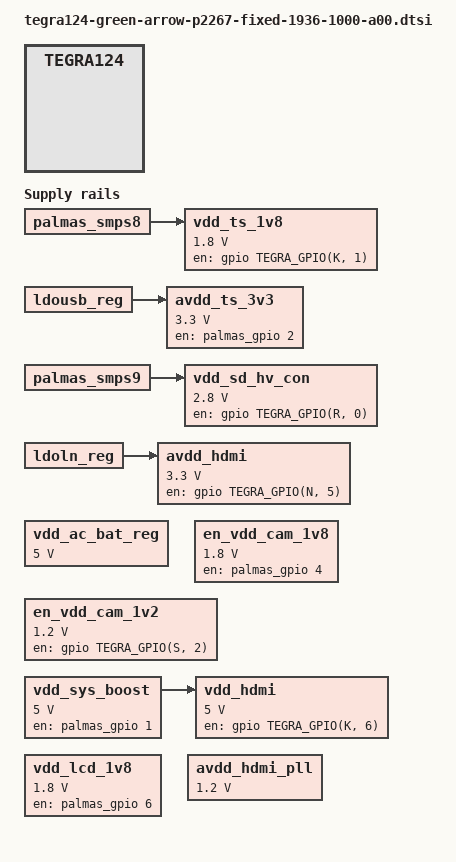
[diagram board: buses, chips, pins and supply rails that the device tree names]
/*
 * tegra124-green-arrow-p2267-fixed-1936-1000-a00.dtsi: GPIO based regulators
 *
 * Copyright (c) 2015, NVIDIA CORPORATION.  All rights reserved.
 *
 * This program is free software; you can redistribute it and/or modify
 * it under the terms of the GNU General Public License as published by
 * the Free Software Foundation; either version 2 of the License, or
 * (at your option) any later version.
 *
 * This program is distributed in the hope that it will be useful, but WITHOUT
 * ANY WARRANTY; without even the implied warranty of MERCHANTABILITY or
 * FITNESS FOR A PARTICULAR PURPOSE.  See the GNU General Public License for
 * more details.
 */

#include <dt-bindings/gpio/tegra-gpio.h>

/ {
	regulators {
		compatible = "simple-bus";
		#address-cells = <1>;
		#size-cells = <0>;

		vdd_ac_bat_reg: regulator@0 {
			compatible = "regulator-fixed";
			reg = <0>;
			regulator-name = "vdd_ac_bat";
			regulator-min-microvolt = <5000000>;
			regulator-max-microvolt = <5000000>;
			regulator-always-on;
		};

		vdd_ts_1v8: regulator@1 {
			compatible = "regulator-fixed-sync";
			reg = <1>;
			regulator-name = "vdd_ts_1v8";
			regulator-min-microvolt = <1800000>;
			regulator-max-microvolt = <1800000>;
			gpio = <&gpio TEGRA_GPIO(K, 1) 0>;
			regulator-always-on;
			regulator-boot-on;
			enable-active-high;
			vin-supply = <&palmas_smps8>;
		};

		avdd_ts_3v3: regulator@2 {
			compatible = "regulator-fixed-sync";
			reg = <2>;
			regulator-name = "avdd_ts_3v3";
			regulator-min-microvolt = <3300000>;
			regulator-max-microvolt = <3300000>;
			gpio = <&palmas_gpio 2 0>;
			enable-active-high;
			vin-supply = <&ldousb_reg>;
		};

		en_vdd_cam_1v8: regulator@3 {
			compatible = "regulator-fixed-sync";
			reg = <3>;
			regulator-name = "vdd-cam-1v8";
			regulator-min-microvolt = <1800000>;
			regulator-max-microvolt = <1800000>;
			gpio = <&palmas_gpio 4 0>;
			enable-active-high;
		};

		en_vdd_cam_1v2: regulator@4 {
			compatible = "regulator-fixed-sync";
			reg = <4>;
			regulator-name = "vdd-cam-1v2";
			regulator-min-microvolt = <1200000>;
			regulator-max-microvolt = <1200000>;
			gpio = <&gpio TEGRA_GPIO(S, 2) 0>;
			enable-active-high;
		};

		vdd_sys_boost: regulator@5 {
			compatible = "regulator-fixed-sync";
			reg = <5>;
			regulator-name = "vdd-5v0";
			regulator-min-microvolt = <5000000>;
			regulator-max-microvolt = <5000000>;
			regulator-always-on;
			regulator-boot-on;
			regulator-disable-on-suspend;
			startup-delay-us = <1000>;
			gpio = <&palmas_gpio 1 0>;
			enable-active-high;
		};

		vdd_lcd_1v8: regulator@6 {
			compatible = "regulator-fixed-sync";
			reg = <6>;
			regulator-name = "vdd-lcd-1v8";
			regulator-min-microvolt = <1800000>;
			regulator-max-microvolt = <1800000>;
			gpio = <&palmas_gpio 6 0>;
			enable-active-high;
		};

		vdd_hdmi: regulator@7 {
			compatible = "regulator-fixed-sync";
			reg = <7>;
			regulator-name = "vdd-hdmi";
			regulator-min-microvolt = <5000000>;
			regulator-max-microvolt = <5000000>;
			gpio = <&gpio TEGRA_GPIO(K, 6) 0>;
			enable-active-high;
			vin-supply = <&vdd_sys_boost>;
		};

		vdd_sd_hv_con: regulator@8 {
			compatible = "regulator-fixed-sync";
			reg = <8>;
			regulator-name = "vdd-sd-hv-con";
			regulator-min-microvolt = <2800000>;
			regulator-max-microvolt = <2800000>;
			gpio = <&gpio TEGRA_GPIO(R, 0) 0>;
			regulator-always-on;
			regulator-boot-on;
			enable-active-high;
			vin-supply = <&palmas_smps9>;
		};

		avdd_hdmi: regulator@9 {
			compatible = "regulator-fixed-sync";
			reg = <9>;
			regulator-name = "avdd-hdmi";
			regulator-min-microvolt = <3300000>;
			regulator-max-microvolt = <3300000>;
			gpio = <&gpio TEGRA_GPIO(N, 5) 0>;
			enable-active-high;
			vin-supply = <&ldoln_reg>;
		};

		avdd_hdmi_pll: regulator@10 {
			compatible = "regulator-fixed-sync";
			reg = <10>;
			regulator-name = "avdd-hdmi-pll";
			regulator-min-microvolt = <1200000>;
			regulator-max-microvolt = <1200000>;
		};
	};
};
